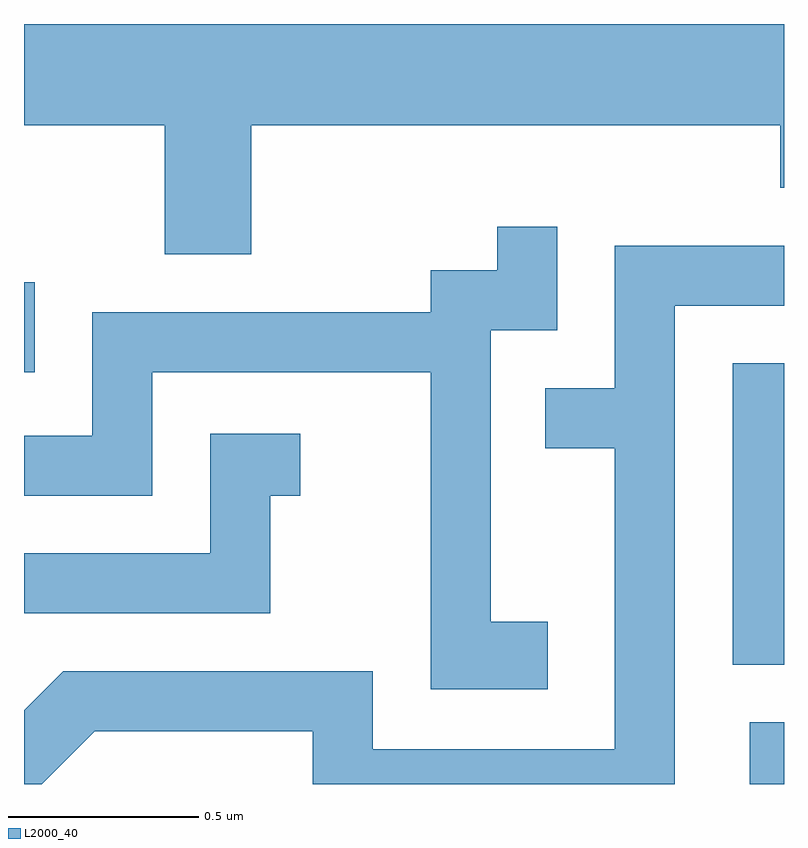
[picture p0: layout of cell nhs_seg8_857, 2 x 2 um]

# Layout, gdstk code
import gdstk
lib = gdstk.Library(unit=1e-6, precision=1e-09)
def R(c, l, rs):  # rectangles x0, y0, x1, y1
    for r in rs: c.add(gdstk.rectangle(r[:2], r[2:], *l))
def P(c, l, *ps):  # polygons
    for p in ps: c.add(gdstk.Polygon(p, *l))
L2000_40 = (2000, 40)

nhs_seg8_857 = lib.new_cell('nhs_seg8_857')
R(nhs_seg8_857, L2000_40, [(193.521,1841.342,193.611,1841.504), (193.476,1841.656,193.611,1842.449), (191.611,1842.426,191.639,1842.663)])
P(nhs_seg8_857, L2000_40, [(192.209,1843.076),(193.601,1843.076),(193.601,1842.911),(193.611,1842.911),(193.611,1843.342),(191.611,1843.342),(191.611,1843.076),(191.981,1843.076),(191.981,1842.736),(192.209,1842.736)],
  [(192.989,1841.769),(192.839,1841.769),(192.839,1842.536),(193.014,1842.536),(193.014,1842.808),(192.856,1842.808),(192.856,1842.694),(192.681,1842.694),(192.681,1842.584),(191.791,1842.584),(191.791,1842.259),(191.611,1842.259),(191.611,1842.101),(191.949,1842.101),(191.949,1842.426),(192.681,1842.426),(192.681,1841.591),(192.989,1841.591)],
  [(191.797,1841.481),(192.371,1841.481),(192.371,1841.342),(193.324,1841.342),(193.324,1842.601),(193.611,1842.601),(193.611,1842.759),(193.166,1842.759),(193.166,1842.384),(192.983,1842.384),(192.983,1842.226),(193.166,1842.226),(193.166,1841.434),(192.529,1841.434),(192.529,1841.639),(191.714,1841.639),(191.611,1841.536),(191.611,1841.342),(191.658,1841.342)],
  [(192.259,1842.101),(192.338,1842.101),(192.338,1842.264),(192.101,1842.264),(192.101,1841.949),(191.611,1841.949),(191.611,1841.791),(192.259,1841.791)])

lib.write_gds('nhs_seg8_857.gds')
